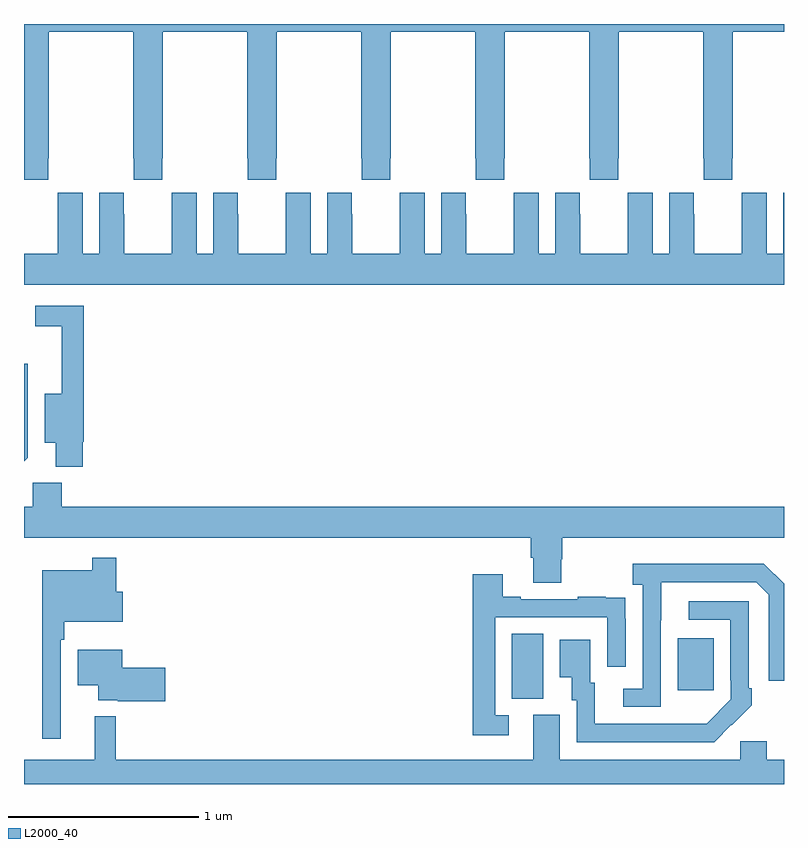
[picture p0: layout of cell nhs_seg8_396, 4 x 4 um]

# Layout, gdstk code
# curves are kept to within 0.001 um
import gdstk
lib = gdstk.Library(unit=1e-6, precision=1e-09)
def R(c, l, rs):  # rectangles x0, y0, x1, y1
    for r in rs: c.add(gdstk.rectangle(r[:2], r[2:], *l))
def P(c, l, *ps):  # polygons
    for p in ps: c.add(gdstk.Polygon(p, *l))
L2000_40 = (2000, 40)

nhs_seg8_396 = lib.new_cell('nhs_seg8_396')
R(nhs_seg8_396, L2000_40, [(139.568,1086.349,139.732,1086.692), (140.441,1086.393,140.629,1086.667)])
P(nhs_seg8_396, L2000_40, [(137.127,1089.193),(137.13,1089.193),(137.13,1089.86),(137.575,1089.86),(137.575,1089.193),(137.577,1089.193),(137.577,1089.081),(137.727,1089.081),(137.727,1089.193),(137.73,1089.193),(137.73,1089.86),(138.175,1089.86),(138.175,1089.193),(138.177,1089.193),(138.177,1089.081),(138.327,1089.081),(138.327,1089.193),(138.33,1089.193),(138.33,1089.86),(138.775,1089.86),(138.775,1089.193),(138.777,1089.193),(138.777,1089.081),(138.927,1089.081),(138.927,1089.193),(138.93,1089.193),(138.93,1089.86),(139.375,1089.86),(139.375,1089.193),(139.377,1089.193),(139.377,1089.081),(139.527,1089.081),(139.527,1089.193),(139.53,1089.193),(139.53,1089.86),(139.975,1089.86),(139.975,1089.193),(139.977,1089.193),(139.977,1089.081),(140.127,1089.081),(140.127,1089.193),(140.13,1089.193),(140.13,1089.86),(140.575,1089.86),(140.575,1089.193),(140.577,1089.193),(140.577,1089.081),(140.727,1089.081),(140.727,1089.193),(140.73,1089.193),(140.73,1089.86),(141,1089.86),(141,1089.9),(137,1089.9),(137,1089.081),(137.127,1089.081)],
  [(141,1089.013),(140.996,1089.013),(140.996,1088.692),(140.908,1088.692),(140.908,1089.013),(140.778,1089.013),(140.778,1088.9),(140.777,1088.9),(140.777,1088.692),(140.527,1088.692),(140.527,1088.9),(140.526,1088.9),(140.526,1089.013),(140.396,1089.013),(140.396,1088.692),(140.308,1088.692),(140.308,1089.013),(140.178,1089.013),(140.178,1088.9),(140.177,1088.9),(140.177,1088.692),(139.927,1088.692),(139.927,1088.9),(139.926,1088.9),(139.926,1089.013),(139.796,1089.013),(139.796,1088.692),(139.708,1088.692),(139.708,1089.013),(139.578,1089.013),(139.578,1088.9),(139.577,1088.9),(139.577,1088.692),(139.327,1088.692),(139.327,1088.9),(139.326,1088.9),(139.326,1089.013),(139.196,1089.013),(139.196,1088.692),(139.108,1088.692),(139.108,1089.013),(138.978,1089.013),(138.978,1088.9),(138.977,1088.9),(138.977,1088.692),(138.727,1088.692),(138.727,1088.9),(138.726,1088.9),(138.726,1089.013),(138.596,1089.013),(138.596,1088.692),(138.508,1088.692),(138.508,1089.013),(138.378,1089.013),(138.378,1088.9),(138.377,1088.9),(138.377,1088.692),(138.127,1088.692),(138.127,1088.9),(138.126,1088.9),(138.126,1089.013),(137.996,1089.013),(137.996,1088.692),(137.908,1088.692),(137.908,1089.013),(137.778,1089.013),(137.778,1088.9),(137.777,1088.9),(137.777,1088.692),(137.527,1088.692),(137.527,1088.9),(137.526,1088.9),(137.526,1089.013),(137.396,1089.013),(137.396,1088.692),(137.308,1088.692),(137.308,1089.013),(137.178,1089.013),(137.178,1088.9),(137.177,1088.9),(137.177,1088.692),(137,1088.692),(137,1088.528),(141,1088.528)],
  [(137.309,1087.701),(137.315,1087.701),(137.315,1088.418),(137.058,1088.418),(137.058,1088.31),(137.198,1088.31),(137.198,1087.954),(137.108,1087.954),(137.108,1087.697),(137.168,1087.697),(137.168,1087.571),(137.309,1087.571)],
  [(137.019,1087.617),(137.019,1088.113),(137,1088.113),(137,1087.598)],
  [(139.827,1087.083),(139.832,1087.083),(139.832,1087.196),(141,1087.196),(141,1087.36),(137.198,1087.36),(137.198,1087.486),(137.046,1087.486),(137.046,1087.36),(137,1087.36),(137,1087.196),(139.667,1087.196),(139.667,1087.09),(139.679,1087.09),(139.679,1086.958),(139.827,1086.958)],
  [(137.193,1086.659),(137.213,1086.659),(137.213,1086.755),(137.521,1086.755),(137.521,1086.913),(137.486,1086.913),(137.486,1087.09),(137.358,1087.09),(137.358,1087.024),(137.096,1087.024),(137.096,1086.138),(137.193,1086.138)],
  [(140.352,1086.763),(140.353,1086.963),(140.853,1086.963),(140.919,1086.897),(140.919,1086.444),(141,1086.444),(141,1086.954),(140.894,1087.06),(140.205,1087.06),(140.205,1086.95),(140.256,1086.95),(140.256,1086.402),(140.154,1086.402),(140.154,1086.306),(140.352,1086.306)],
  [(139.552,1086.261),(139.479,1086.261),(139.479,1086.777),(140.07,1086.777),(140.07,1086.516),(140.166,1086.516),(140.166,1086.77),(140.165,1086.77),(140.165,1086.879),(140.063,1086.879),(140.063,1086.886),(139.915,1086.886),(139.915,1086.873),(139.615,1086.873),(139.615,1086.886),(139.519,1086.886),(139.519,1087.003),(139.363,1087.003),(139.363,1086.156),(139.552,1086.156)],
  [(140.723,1086.211),(140.724,1086.21),(140.829,1086.315),(140.829,1086.403),(140.814,1086.403),(140.814,1086.861),(140.499,1086.861),(140.499,1086.765),(140.718,1086.765),(140.718,1086.445),(140.721,1086.445),(140.721,1086.345),(140.593,1086.217),(140.005,1086.216),(140.005,1086.432),(139.981,1086.432),(139.981,1086.658),(139.82,1086.658),(139.82,1086.461),(139.883,1086.461),(139.883,1086.342),(139.908,1086.342),(139.908,1086.12),(140.632,1086.12)],
  [(137.743,1086.512),(137.518,1086.512),(137.518,1086.607),(137.282,1086.607),(137.282,1086.419),(137.39,1086.419),(137.39,1086.341),(137.494,1086.341),(137.494,1086.336),(137.743,1086.336)],
  [(141,1086.028),(140.908,1086.028),(140.908,1086.126),(140.769,1086.126),(140.769,1086.028),(139.819,1086.028),(139.819,1086.264),(139.679,1086.264),(139.679,1086.028),(137.484,1086.028),(137.484,1086.256),(137.372,1086.256),(137.372,1086.028),(137,1086.028),(137,1085.9),(141,1085.9)])

lib.write_gds('nhs_seg8_396.gds')
